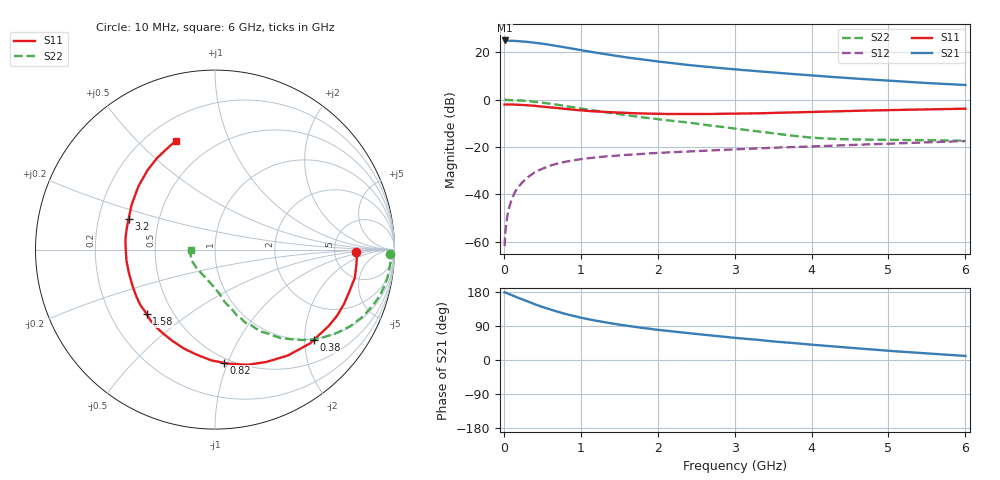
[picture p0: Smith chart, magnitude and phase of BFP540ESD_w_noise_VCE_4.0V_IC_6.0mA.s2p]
! Infineon Technologies  Discrete & RF Semiconductors
! BFP540ESD
! VCE =  4.0 V,  IC =  6.0 mA
! Common Emitter S-Parameters:  Nov 2015
# GHz  S  MA  R  50
!  f  S11  S21  S12  S22
! GHz  MAG  ANG  MAG  ANG  MAG  ANG  MAG  ANG
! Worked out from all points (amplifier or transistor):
!   210 points, 10 MHz to 6 GHz, reference 50 ohm
!   highest |S21| = 25.0 dB at 10 MHz (marker M1)
!   |S21| within 3 dB of that: start of sweep to 810.8 MHz
!   unconditionally stable (mu >= 1): start of sweep to 11.18 MHz; 3.166 GHz to end of sweep
!   at 185 MHz: K = 0.11, MSG = 30.9 dB, |S12| = -37.1 dB
!   at 1.52 GHz: K = 0.55, MSG = 20.9 dB, |S12| = -23.5 dB
!   at 6 GHz: K = 1.20, MAG = 9.1 dB, |S12| = -17.5 dB
!   lowest NFmin = 0.73 dB at 900 MHz
!   S11 on the Smith chart (normalised r, x): 10 MHz: 8.40, -0.55; 380 MHz: 0.97, -2.21; 820 MHz: 0.46, -0.97; 1.58 GHz: 0.36, -0.35; 3.2 GHz: 0.33, +0.15; 6 GHz: 0.32, +0.66
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0.01  0.7881 -0.9  17.87 178.6  0.0008 48.5  0.9743 -1.3
0.025  0.7915 -3.0  17.67 177.8  0.002 73.8  0.9929 -1.6
0.055  0.7924 -6.3  17.65 175.1  0.0042 78.6  0.9824 -3.4
0.15  0.7844 -17.2  17.47 167.4  0.0115 79.5  0.9732 -9.3
0.28  0.7664 -31.7  16.81 156.7  0.0207 74.3  0.9445 -17.2
0.38  0.7456 -42.5  16.13 149.0  0.0276 69.5  0.9123 -22.9
0.5  0.7161 -55.5  15.33 140.0  0.0346 65.6  0.8657 -29.6
0.6  0.6884 -65.4  14.4 133.2  0.0402 61.3  0.8227 -34.3
0.7  0.667 -74.3  13.59 127.4  0.0448 57.6  0.7793 -38.8
0.82  0.6335 -85.4  12.57 120.5  0.0495 53.9  0.7256 -43.8
1.02  0.591 -100.9  11.03 111.0  0.0559 48.8  0.645 -50.5
1.2  0.5635 -114.1  9.834 103.5  0.0603 45.4  0.5814 -55.7
1.4  0.5432 -126.5  8.754 96.7  0.0646 42.3  0.5202 -61.1
1.58  0.5234 -136.5  7.896 91.1  0.0678 39.9  0.4735 -63.9
1.8  0.5114 -148.2  7.047 84.7  0.0711 37.7  0.426 -68.3
2.02  0.5005 -158.0  6.375 79.2  0.075 36.1  0.3851 -71.7
2.58  0.4974 -179.9  5.053 67.0  0.083 33.0  0.2978 -79.4
3.1  0.5074 163.5  4.244 56.8  0.0904 30.6  0.2345 -86.4
3.2  0.5104 160.6  4.116 55.1  0.092 30.1  0.2238 -88.4
4.1  0.5575 138.3  3.17 38.8  0.104 25.8  0.1536 -118.2
5.1  0.6072 120.8  2.471 23.0  0.1187 21.1  0.1412 -154.0
6  0.6447 109.7  2.045 10.7  0.1333 17.2  0.1362 179.8
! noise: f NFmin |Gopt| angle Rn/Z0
0.9  0.73  0.05  38  0.12
1.8  0.95  0.08  153  0.11
2.4  0.97  0.09  154  0.1
3  1.1  0.19  178  0.09
4  1.28  0.3  -122  0.14
5  1.5  0.42  -99  0.29
6  1.73  0.51  -100  0.43
